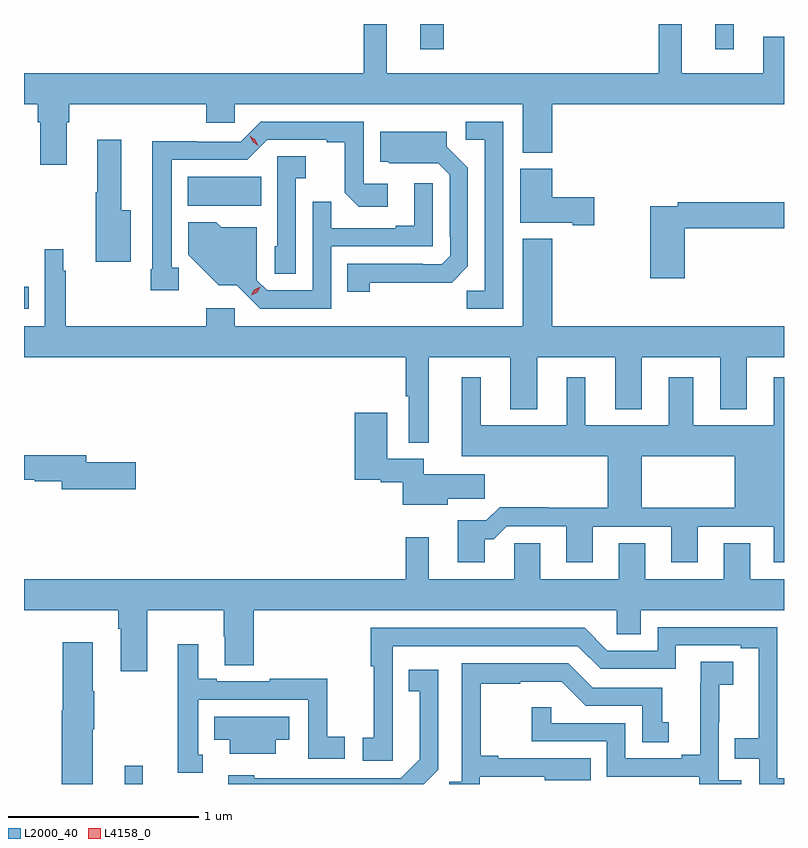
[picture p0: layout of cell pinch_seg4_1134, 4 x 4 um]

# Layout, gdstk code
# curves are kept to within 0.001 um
import gdstk
lib = gdstk.Library(unit=1e-6, precision=1e-09)
def R(c, l, rs):  # rectangles x0, y0, x1, y1
    for r in rs: c.add(gdstk.rectangle(r[:2], r[2:], *l))
def P(c, l, *ps):  # polygons
    for p in ps: c.add(gdstk.Polygon(p, *l))
L2000_40 = (2000, 40)
L4158_0 = (4158, 0)

pinch_seg4_1134 = lib.new_cell('pinch_seg4_1134')
R(pinch_seg4_1134, L2000_40, [(482.912,786.582,483.009,786.679), (482.383,789.084,482.408,789.2), (483.245,789.626,483.632,789.778), (484.469,790.449,484.591,790.582), (486.02,790.449,486.118,790.582)])
P(pinch_seg4_1134, L2000_40, [(482.608,790.064),(482.621,790.064),(482.621,790.16),(483.341,790.16),(483.341,790.062),(483.492,790.062),(483.492,790.16),(485.009,790.16),(485.009,789.905),(485.162,789.905),(485.162,790.16),(486.383,790.16),(486.383,790.514),(486.275,790.514),(486.275,790.324),(485.845,790.324),(485.845,790.582),(485.724,790.582),(485.724,790.324),(484.291,790.324),(484.291,790.582),(484.17,790.582),(484.17,790.324),(482.383,790.324),(482.383,790.16),(482.456,790.16),(482.456,790.064),(482.468,790.064),(482.468,789.84),(482.608,789.84)],
  [(483.198,789.3),(483.16,789.3),(483.16,789.867),(483.557,789.867),(483.662,789.972),(483.977,789.972),(483.977,789.96),(484.071,789.96),(484.071,789.695),(484.146,789.62),(484.297,789.62),(484.297,789.741),(484.17,789.741),(484.17,790.068),(483.63,790.068),(483.525,789.963),(483.293,789.963),(483.293,789.965),(483.059,789.965),(483.059,789.292),(483.049,789.292),(483.049,789.18),(483.198,789.18)],
  [(484.905,790.068),(484.707,790.068),(484.707,789.972),(484.809,789.972),(484.809,789.179),(484.713,789.179),(484.713,789.084),(484.905,789.084)],
  [(484.203,789.22),(484.633,789.22),(484.719,789.306),(484.719,789.826),(484.609,789.936),(484.609,790.015),(484.259,790.015),(484.259,789.857),(484.297,789.857),(484.306,789.848),(484.563,789.849),(484.623,789.789),(484.623,789.463),(484.626,789.463),(484.626,789.363),(484.581,789.318),(484.481,789.318),(484.481,789.321),(484.084,789.321),(484.084,789.174),(484.203,789.174)],
  [(482.944,789.601),(482.896,789.601),(482.896,789.973),(482.768,789.973),(482.768,789.697),(482.761,789.697),(482.761,789.332),(482.944,789.332)],
  [(483.813,789.769),(483.865,789.769),(483.865,789.887),(483.717,789.887),(483.717,789.411),(483.702,789.411),(483.702,789.267),(483.813,789.267)],
  [(485.383,789.671),(485.164,789.671),(485.164,789.82),(484.994,789.82),(484.994,789.536),(485.27,789.536),(485.27,789.524),(485.383,789.524)],
  [(483.999,789.411),(484.533,789.411),(484.533,789.745),(484.436,789.745),(484.436,789.52),(484.34,789.52),(484.34,789.507),(484.001,789.507),(484.001,789.646),(483.903,789.646),(483.903,789.18),(483.663,789.18),(483.609,789.234),(483.609,789.511),(483.422,789.511),(483.395,789.538),(483.248,789.538),(483.248,789.367),(483.408,789.206),(483.504,789.206),(483.626,789.084),(483.999,789.084)],
  [(485.861,789.508),(486.383,789.508),(486.383,789.644),(485.824,789.644),(485.824,789.624),(485.678,789.624),(485.678,789.243),(485.861,789.243)],
  [(484.513,788.828),(484.943,788.828),(484.943,788.555),(485.083,788.555),(485.083,788.828),(485.495,788.828),(485.495,788.555),(485.635,788.555),(485.635,788.828),(486.047,788.828),(486.047,788.555),(486.187,788.555),(486.187,788.828),(486.383,788.828),(486.383,788.992),(485.162,788.992),(485.162,789.451),(485.009,789.451),(485.009,788.992),(483.492,788.992),(483.492,789.085),(483.341,789.085),(483.341,788.992),(482.602,788.992),(482.602,789.284),(482.59,789.284),(482.59,789.397),(482.493,789.397),(482.493,788.992),(482.383,788.992),(482.383,788.828),(484.392,788.828),(484.392,788.623),(484.409,788.623),(484.409,788.379),(484.513,788.379)],
  [(485.141,788.039),(484.886,788.039),(484.816,787.969),(484.667,787.969),(484.667,787.749),(484.807,787.749),(484.807,787.871),(484.856,787.871),(484.923,787.938),(485.237,787.938),(485.237,787.749),(485.377,787.749),(485.377,787.935),(485.789,787.935),(485.789,787.749),(485.929,787.749),(485.929,787.935),(486.329,787.935),(486.329,787.749),(486.383,787.749),(486.383,788.722),(486.329,788.722),(486.329,788.47),(485.905,788.47),(485.905,788.722),(485.777,788.722),(485.777,788.47),(485.338,788.47),(485.338,788.722),(485.24,788.722),(485.24,788.47),(484.786,788.47),(484.786,788.722),(484.688,788.722),(484.688,788.306),(485.456,788.306),(485.456,788.036),(485.634,788.036),(485.634,788.306),(486.125,788.306),(486.125,788.036),(485.141,788.036)],
  [(484.612,788.083),(484.807,788.083),(484.807,788.212),(484.486,788.212),(484.486,788.293),(484.294,788.293),(484.294,788.536),(484.124,788.536),(484.124,788.183),(484.26,788.183),(484.26,788.171),(484.376,788.171),(484.376,788.051),(484.612,788.051)],
  [(482.971,788.276),(482.71,788.276),(482.71,788.312),(482.383,788.312),(482.383,788.184),(482.439,788.184),(482.439,788.176),(482.582,788.176),(482.582,788.134),(482.971,788.134)],
  [(483.031,787.496),(483.433,787.496),(483.433,787.358),(483.44,787.358),(483.44,787.207),(483.593,787.207),(483.593,787.496),(485.502,787.496),(485.502,787.369),(485.629,787.369),(485.629,787.496),(486.383,787.496),(486.383,787.66),(486.205,787.66),(486.205,787.85),(486.065,787.85),(486.065,787.66),(485.653,787.66),(485.653,787.85),(485.513,787.85),(485.513,787.66),(485.101,787.66),(485.101,787.85),(484.962,787.85),(484.962,787.66),(484.513,787.66),(484.513,787.882),(484.392,787.882),(484.392,787.66),(482.383,787.66),(482.383,787.496),(482.879,787.496),(482.879,787.4),(482.891,787.4),(482.891,787.176),(483.031,787.176)],
  [(486.383,786.612),(486.348,786.612),(486.348,787.407),(485.718,787.407),(485.718,787.284),(485.454,787.284),(485.334,787.404),(484.207,787.404),(484.207,787.201),(484.225,787.201),(484.225,786.825),(484.167,786.825),(484.167,786.705),(484.324,786.705),(484.323,787.308),(485.298,787.308),(485.418,787.188),(485.814,787.188),(485.814,787.311),(486.155,787.311),(486.155,787.296),(486.251,787.296),(486.251,786.823),(486.124,786.823),(486.124,786.714),(486.252,786.714),(486.252,786.582),(486.383,786.582)],
  [(482.746,786.869),(482.754,786.869),(482.754,787.069),(482.746,787.069),(482.746,787.327),(482.588,787.327),(482.588,786.969),(482.582,786.969),(482.582,786.582),(482.746,786.582)],
  [(483.325,786.735),(483.3,786.735),(483.3,787.026),(483.879,787.026),(483.879,786.714),(484.072,786.714),(484.072,786.83),(483.978,786.83),(483.978,787.135),(483.676,787.135),(483.676,787.122),(483.397,787.122),(483.397,787.135),(483.301,787.135),(483.301,787.318),(483.191,787.318),(483.191,787.073),(483.192,787.073),(483.192,786.641),(483.325,786.641)],
  [(486.157,786.603),(486.039,786.603),(486.039,786.907),(486.041,786.907),(486.041,787.105),(486.115,787.105),(486.115,787.226),(485.944,787.226),(485.944,787.115),(485.942,787.115),(485.942,786.737),(485.846,786.737),(485.846,786.717),(485.547,786.717),(485.547,786.903),(485.157,786.903),(485.157,786.985),(485.056,786.985),(485.056,786.807),(485.451,786.807),(485.451,786.621),(485.938,786.621),(485.938,786.582),(486.157,786.582)],
  [(484.782,786.621),(485.123,786.621),(485.123,786.602),(485.366,786.602),(485.366,786.717),(484.879,786.717),(484.879,786.73),(484.787,786.73),(484.787,787.11),(484.994,787.11),(484.994,787.121),(485.212,787.121),(485.34,786.993),(485.636,786.993),(485.636,786.802),(485.776,786.802),(485.776,786.906),(485.743,786.906),(485.743,787.089),(485.376,787.089),(485.247,787.218),(484.686,787.218),(484.686,786.595),(484.621,786.595),(484.621,786.582),(484.782,786.582)],
  [(484.563,786.658),(484.563,787.183),(484.408,787.183),(484.408,787.07),(484.466,787.07),(484.466,786.713),(484.365,786.612),(483.594,786.612),(483.594,786.628),(483.458,786.628),(483.458,786.582),(484.487,786.582)],
  [(483.709,786.815),(483.778,786.815),(483.778,786.937),(483.385,786.937),(483.385,786.815),(483.467,786.815),(483.467,786.74),(483.709,786.74)])
P(pinch_seg4_1134, L4158_0, [(483.579,789.154),(483.579,789.155),(483.596,789.184),(483.627,789.2),(483.627,789.2),(483.627,789.199),(483.61,789.17),(483.579,789.154)],
  [(483.616,789.941),(483.586,789.961),(483.57,789.993),(483.57,789.994),(483.571,789.994),(483.601,789.974),(483.616,789.942),(483.616,789.941)])

lib.write_gds('pinch_seg4_1134.gds')
